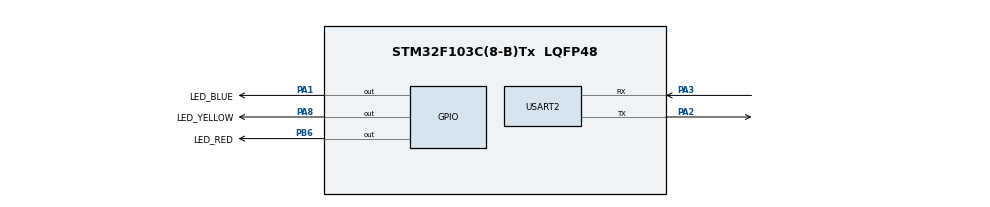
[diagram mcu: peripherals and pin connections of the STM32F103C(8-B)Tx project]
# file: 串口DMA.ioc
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Dma.Request0=USART2_RX
Dma.Request1=USART2_TX
Dma.USART2_RX.0.Direction=DMA_PERIPH_TO_MEMORY
Dma.USART2_RX.0.Instance=DMA1_Channel6
Dma.USART2_RX.0.MemDataAlignment=DMA_MDATAALIGN_BYTE
Dma.USART2_RX.0.MemInc=DMA_MINC_ENABLE
Dma.USART2_RX.0.Mode=DMA_NORMAL
Dma.USART2_RX.0.PeriphDataAlignment=DMA_PDATAALIGN_BYTE
Dma.USART2_RX.0.PeriphInc=DMA_PINC_DISABLE
Dma.USART2_RX.0.Priority=DMA_PRIORITY_LOW
Dma.USART2_TX.1.Direction=DMA_MEMORY_TO_PERIPH
Dma.USART2_TX.1.Instance=DMA1_Channel7
Dma.USART2_TX.1.MemDataAlignment=DMA_MDATAALIGN_BYTE
Dma.USART2_TX.1.MemInc=DMA_MINC_ENABLE
Dma.USART2_TX.1.Mode=DMA_NORMAL
Dma.USART2_TX.1.PeriphDataAlignment=DMA_PDATAALIGN_BYTE
Dma.USART2_TX.1.PeriphInc=DMA_PINC_DISABLE
Dma.USART2_TX.1.Priority=DMA_PRIORITY_LOW
Mcu.Family=STM32F1
Mcu.Name=STM32F103C(8-B)Tx
Mcu.Package=LQFP48
NVIC.DMA1_Channel6_IRQn=true\:0\:0\:false\:false\:true\:false\:true\:true
NVIC.DMA1_Channel7_IRQn=true\:0\:0\:false\:false\:true\:false\:true\:true
NVIC.PriorityGroup=NVIC_PRIORITYGROUP_4
NVIC.USART2_IRQn=true\:0\:0\:false\:false\:true\:true\:true\:true
PA1.GPIO_Label=LED_BLUE
PA1.PinState=GPIO_PIN_SET
PA1.Signal=GPIO_Output
PA13.Mode=Serial_Wire
PA13.Signal=SYS_JTMS-SWDIO
PA14.Mode=Serial_Wire
PA14.Signal=SYS_JTCK-SWCLK
PA2.Mode=Asynchronous
PA2.Signal=USART2_TX
PA3.Mode=Asynchronous
PA3.Signal=USART2_RX
PA8.GPIO_Label=LED_YELLOW
PA8.PinState=GPIO_PIN_SET
PA8.Signal=GPIO_Output
PB6.GPIO_Label=LED_RED
PB6.PinState=GPIO_PIN_SET
PB6.Signal=GPIO_Output
ProjectManager.HeapSize=0x200
ProjectManager.StackSize=0x400
ProjectManager.TargetToolchain=MDK-ARM V5.32
RCC.APB1Freq_Value=8000000
RCC.APB2Freq_Value=8000000
USART2.VirtualMode=VM_ASYNC
board=custom

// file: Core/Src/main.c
/* USER CODE BEGIN Header */
/**
  ******************************************************************************
  * @file           : main.c
  * @brief          : Main program body
  ******************************************************************************
  * @attention
  *
  * Copyright (c) 2026 STMicroelectronics.
  * All rights reserved.
  *
  * This software is licensed under terms that can be found in the LICENSE file
  * in the root directory of this software component.
  * If no LICENSE file comes with this software, it is provided AS-IS.
  *
  ******************************************************************************
  */
/* USER CODE END Header */
#include "main.h"

/* USER CODE BEGIN Includes */
#include"string.h"
/* USER CODE END Includes */

UART_HandleTypeDef huart2;
DMA_HandleTypeDef hdma_usart2_rx;
DMA_HandleTypeDef hdma_usart2_tx;

/* USER CODE BEGIN PV */
uint8_t  receiveDate[50];
/* USER CODE END PV */

void SystemClock_Config(void);
static void MX_GPIO_Init(void);
static void MX_DMA_Init(void);
static void MX_USART2_UART_Init(void);

/* USER CODE BEGIN 0 */
void HAL_UART_RxCpltCallback(UART_HandleTypeDef *huart)
{

		HAL_UART_Transmit_DMA(&huart2,receiveDate ,2);
		GPIO_PinState state=GPIO_PIN_SET ;
		if(receiveDate [1]=='1')
		{
		state =GPIO_PIN_RESET ;
		}
		if(receiveDate [0]=='B')
		{
		HAL_GPIO_WritePin (LED_BLUE_GPIO_Port ,LED_BLUE_Pin ,state);
		}
		else if(receiveDate [0]=='R')
		{
		HAL_GPIO_WritePin (LED_RED_GPIO_Port ,LED_RED_Pin ,state);
		}
		else if(receiveDate [0]=='Y')
		{
		HAL_GPIO_WritePin (LED_YELLOW_GPIO_Port ,LED_YELLOW_Pin ,state);
		}
		HAL_UART_Receive_DMA (&huart2 ,receiveDate ,2);
}
void HAL_UARTEx_RxEventCallback(UART_HandleTypeDef *huart,uint16_t Size)
{
if(huart ==&huart2 )
{
HAL_UART_Transmit_DMA(&huart2 ,receiveDate ,Size);
HAL_UARTEx_ReceiveToIdle_DMA (&huart2 ,receiveDate ,sizeof (receiveDate ));
	__HAL_DMA_DISABLE_IT(&hdma_usart2_rx,DMA_IT_HT );
}
}

/* USER CODE END 0 */

int main(void)
{

  /* MCU Configuration--------------------------------------------------------*/

  /* Reset of all peripherals, Initializes the Flash interface and the Systick. */
  HAL_Init();

  /* Configure the system clock */
  SystemClock_Config();

  /* Initialize all configured peripherals */
  MX_GPIO_Init();
  MX_DMA_Init();
  MX_USART2_UART_Init();
  /* USER CODE BEGIN 2 */
//HAL_UART_Receive_DMA(&huart2 ,receiveDate ,2);
HAL_UARTEx_ReceiveToIdle_DMA (&huart2 ,receiveDate ,sizeof(receiveDate ));
__HAL_DMA_DISABLE_IT (&hdma_usart2_rx ,DMA_IT_HT );
  /* USER CODE END 2 */

  /* Infinite loop */
  while (1)
  {

  }
}

void SystemClock_Config(void)
{
  RCC_OscInitTypeDef RCC_OscInitStruct = {0};
  RCC_ClkInitTypeDef RCC_ClkInitStruct = {0};

  /** Initializes the RCC Oscillators according to the specified parameters
  * in the RCC_OscInitTypeDef structure.
  */
  RCC_OscInitStruct.OscillatorType = RCC_OSCILLATORTYPE_HSI;
  RCC_OscInitStruct.HSIState = RCC_HSI_ON;
  RCC_OscInitStruct.HSICalibrationValue = RCC_HSICALIBRATION_DEFAULT;
  RCC_OscInitStruct.PLL.PLLState = RCC_PLL_NONE;
  if (HAL_RCC_OscConfig(&RCC_OscInitStruct) != HAL_OK)
  {
    Error_Handler();
  }

  /** Initializes the CPU, AHB and APB buses clocks
  */
  RCC_ClkInitStruct.ClockType = RCC_CLOCKTYPE_HCLK|RCC_CLOCKTYPE_SYSCLK
                              |RCC_CLOCKTYPE_PCLK1|RCC_CLOCKTYPE_PCLK2;
  RCC_ClkInitStruct.SYSCLKSource = RCC_SYSCLKSOURCE_HSI;
  RCC_ClkInitStruct.AHBCLKDivider = RCC_SYSCLK_DIV1;
  RCC_ClkInitStruct.APB1CLKDivider = RCC_HCLK_DIV1;
  RCC_ClkInitStruct.APB2CLKDivider = RCC_HCLK_DIV1;

  if (HAL_RCC_ClockConfig(&RCC_ClkInitStruct, FLASH_LATENCY_0) != HAL_OK)
  {
    Error_Handler();
  }
}

static void MX_USART2_UART_Init(void)
{

  huart2.Instance = USART2;
  huart2.Init.BaudRate = 115200;
  huart2.Init.WordLength = UART_WORDLENGTH_8B;
  huart2.Init.StopBits = UART_STOPBITS_1;
  huart2.Init.Parity = UART_PARITY_NONE;
  huart2.Init.Mode = UART_MODE_TX_RX;
  huart2.Init.HwFlowCtl = UART_HWCONTROL_NONE;
  huart2.Init.OverSampling = UART_OVERSAMPLING_16;
  if (HAL_UART_Init(&huart2) != HAL_OK)
  {
    Error_Handler();
  }

}

static void MX_DMA_Init(void)
{

  /* DMA controller clock enable */
  __HAL_RCC_DMA1_CLK_ENABLE();

  /* DMA interrupt init */
  /* DMA1_Channel6_IRQn interrupt configuration */
  HAL_NVIC_SetPriority(DMA1_Channel6_IRQn, 0, 0);
  HAL_NVIC_EnableIRQ(DMA1_Channel6_IRQn);
  /* DMA1_Channel7_IRQn interrupt configuration */
  HAL_NVIC_SetPriority(DMA1_Channel7_IRQn, 0, 0);
  HAL_NVIC_EnableIRQ(DMA1_Channel7_IRQn);

}

static void MX_GPIO_Init(void)
{
  GPIO_InitTypeDef GPIO_InitStruct = {0};

  /* GPIO Ports Clock Enable */
  __HAL_RCC_GPIOA_CLK_ENABLE();
  __HAL_RCC_GPIOB_CLK_ENABLE();

  /*Configure GPIO pin Output Level */
  HAL_GPIO_WritePin(GPIOA, LED_BLUE_Pin|LED_YELLOW_Pin, GPIO_PIN_SET);

  /*Configure GPIO pin Output Level */
  HAL_GPIO_WritePin(LED_RED_GPIO_Port, LED_RED_Pin, GPIO_PIN_SET);

  /*Configure GPIO pins : LED_BLUE_Pin LED_YELLOW_Pin */
  GPIO_InitStruct.Pin = LED_BLUE_Pin|LED_YELLOW_Pin;
  GPIO_InitStruct.Mode = GPIO_MODE_OUTPUT_PP;
  GPIO_InitStruct.Pull = GPIO_NOPULL;
  GPIO_InitStruct.Speed = GPIO_SPEED_FREQ_LOW;
  HAL_GPIO_Init(GPIOA, &GPIO_InitStruct);

  /*Configure GPIO pin : LED_RED_Pin */
  GPIO_InitStruct.Pin = LED_RED_Pin;
  GPIO_InitStruct.Mode = GPIO_MODE_OUTPUT_PP;
  GPIO_InitStruct.Pull = GPIO_NOPULL;
  GPIO_InitStruct.Speed = GPIO_SPEED_FREQ_LOW;
  HAL_GPIO_Init(LED_RED_GPIO_Port, &GPIO_InitStruct);

}

void Error_Handler(void)
{
  __disable_irq();
  while (1)
  {
  }
}
